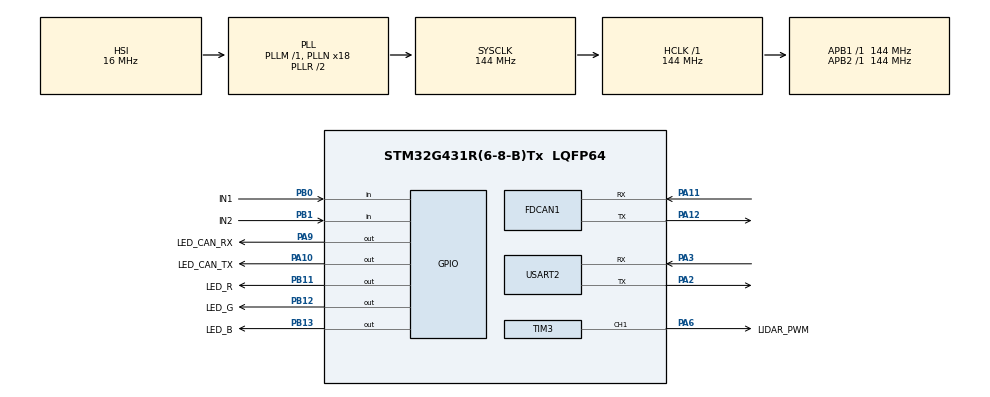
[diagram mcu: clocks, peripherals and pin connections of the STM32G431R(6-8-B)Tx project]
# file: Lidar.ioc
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Dma.Request0=USART2_RX
Dma.Request1=USART2_TX
Dma.USART2_RX.0.Direction=DMA_PERIPH_TO_MEMORY
Dma.USART2_RX.0.EventEnable=DISABLE
Dma.USART2_RX.0.Instance=DMA1_Channel1
Dma.USART2_RX.0.MemDataAlignment=DMA_MDATAALIGN_BYTE
Dma.USART2_RX.0.MemInc=DMA_MINC_ENABLE
Dma.USART2_RX.0.Mode=DMA_CIRCULAR
Dma.USART2_RX.0.PeriphDataAlignment=DMA_PDATAALIGN_BYTE
Dma.USART2_RX.0.PeriphInc=DMA_PINC_DISABLE
Dma.USART2_RX.0.Polarity=HAL_DMAMUX_REQ_GEN_RISING
Dma.USART2_RX.0.Priority=DMA_PRIORITY_LOW
Dma.USART2_RX.0.RequestNumber=1
Dma.USART2_RX.0.SignalID=NONE
Dma.USART2_RX.0.SyncEnable=DISABLE
Dma.USART2_RX.0.SyncPolarity=HAL_DMAMUX_SYNC_NO_EVENT
Dma.USART2_RX.0.SyncRequestNumber=1
Dma.USART2_RX.0.SyncSignalID=NONE
Dma.USART2_TX.1.Direction=DMA_MEMORY_TO_PERIPH
Dma.USART2_TX.1.EventEnable=DISABLE
Dma.USART2_TX.1.Instance=DMA1_Channel2
Dma.USART2_TX.1.MemDataAlignment=DMA_MDATAALIGN_BYTE
Dma.USART2_TX.1.MemInc=DMA_MINC_ENABLE
Dma.USART2_TX.1.Mode=DMA_NORMAL
Dma.USART2_TX.1.PeriphDataAlignment=DMA_PDATAALIGN_BYTE
Dma.USART2_TX.1.PeriphInc=DMA_PINC_DISABLE
Dma.USART2_TX.1.Polarity=HAL_DMAMUX_REQ_GEN_RISING
Dma.USART2_TX.1.Priority=DMA_PRIORITY_LOW
Dma.USART2_TX.1.RequestNumber=1
Dma.USART2_TX.1.SignalID=NONE
Dma.USART2_TX.1.SyncEnable=DISABLE
Dma.USART2_TX.1.SyncPolarity=HAL_DMAMUX_SYNC_NO_EVENT
Dma.USART2_TX.1.SyncRequestNumber=1
Dma.USART2_TX.1.SyncSignalID=NONE
FDCAN1.AutoRetransmission=ENABLE
FDCAN1.CalculateBaudRateNominal=1000000
FDCAN1.CalculateTimeBitNominal=1000
FDCAN1.CalculateTimeQuantumNominal=6.944444444444445
FDCAN1.DataPrescaler=1
FDCAN1.DataSyncJumpWidth=8
FDCAN1.DataTimeSeg1=9
FDCAN1.DataTimeSeg2=8
FDCAN1.FrameFormat=FDCAN_FRAME_FD_NO_BRS
FDCAN1.NominalPrescaler=1
FDCAN1.NominalSyncJumpWidth=19
FDCAN1.NominalTimeSeg1=124
FDCAN1.NominalTimeSeg2=19
FDCAN1.StdFiltersNbr=1
Mcu.Family=STM32G4
Mcu.Name=STM32G431R(6-8-B)Tx
Mcu.Package=LQFP64
NVIC.DMA1_Channel1_IRQn=true\:0\:0\:false\:false\:true\:false\:true\:true
NVIC.DMA1_Channel2_IRQn=true\:0\:0\:false\:false\:true\:false\:true\:true
NVIC.FDCAN1_IT0_IRQn=true\:0\:0\:false\:false\:true\:true\:true\:true
NVIC.PriorityGroup=NVIC_PRIORITYGROUP_4
NVIC.TIM6_DAC_IRQn=true\:0\:0\:false\:false\:true\:true\:true\:true
NVIC.TIM7_IRQn=true\:0\:0\:false\:false\:true\:true\:true\:true
NVIC.USART2_IRQn=true\:0\:0\:false\:false\:true\:true\:true\:true
PA10.GPIO_Label=LED_CAN_TX
PA10.Signal=GPIO_Output
PA11.Mode=FDCAN_Activate
PA11.Signal=FDCAN1_RX
PA12.Mode=FDCAN_Activate
PA12.Signal=FDCAN1_TX
PA13.Mode=Serial_Wire
PA13.Signal=SYS_JTMS-SWDIO
PA14.Mode=Serial_Wire
PA14.Signal=SYS_JTCK-SWCLK
PA2.Mode=Asynchronous
PA2.Signal=USART2_TX
PA3.Mode=Asynchronous
PA3.Signal=USART2_RX
PA6.GPIO_Label=LIDAR_PWM
PA6.Signal=S_TIM3_CH1
PA9.GPIO_Label=LED_CAN_RX
PA9.Signal=GPIO_Output
PB0.GPIO_Label=IN1
PB0.Signal=GPIO_Input
PB1.GPIO_Label=IN2
PB1.Signal=GPIO_Input
PB11.GPIO_Label=LED_R
PB11.Signal=GPIO_Output
PB12.GPIO_Label=LED_G
PB12.Signal=GPIO_Output
PB13.GPIO_Label=LED_B
PB13.Signal=GPIO_Output
ProjectManager.HeapSize=0x200
ProjectManager.StackSize=0x400
ProjectManager.TargetToolchain=STM32CubeIDE
RCC.ADC12Freq_Value=144000000
RCC.AHBFreq_Value=144000000
RCC.APB1Freq_Value=144000000
RCC.APB1TimFreq_Value=144000000
RCC.APB2Freq_Value=144000000
RCC.APB2TimFreq_Value=144000000
RCC.CortexFreq_Value=144000000
RCC.EXTERNAL_CLOCK_VALUE=12288000
RCC.HCLKFreq_Value=144000000
RCC.HSE_VALUE=8000000
RCC.HSI48_VALUE=48000000
RCC.HSI_VALUE=16000000
RCC.LSE_VALUE=32768
RCC.PLLN=18
RCC.SYSCLKFreq_VALUE=144000000
RCC.SYSCLKSource=RCC_SYSCLKSOURCE_PLLCLK
RCC.USBFreq_Value=144000000
RCC.VCOOutputFreq_Value=288000000
SH.S_TIM3_CH1.0=TIM3_CH1,PWM Generation1 CH1
TIM16.PeriodNoDither=45999
TIM16.Prescaler=287
TIM17.PeriodNoDither=47999
TIM17.Prescaler=2
TIM3.Channel-PWM\ Generation1\ CH1=TIM_CHANNEL_1
TIM3.PeriodNoDither=5759
TIM6.PeriodNoDither=35999
TIM6.Prescaler=1
TIM7.PeriodNoDither=1439
USART2.VirtualMode-Asynchronous=VM_ASYNC
VP_SYS_VS_DBSignals.Mode=DisableDeadBatterySignals
VP_TIM16_VS_ClockSourceINT.Mode=Enable_Timer
VP_TIM17_VS_ClockSourceINT.Mode=Enable_Timer
VP_TIM6_VS_ClockSourceINT.Mode=Enable_Timer
VP_TIM7_VS_ClockSourceINT.Mode=Enable_Timer
board=custom

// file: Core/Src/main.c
/* USER CODE BEGIN Header */
/**
  ******************************************************************************
  * @file           : main.c
  * @brief          : Main program body
  ******************************************************************************
  * @attention
  *
  * Copyright (c) 2024 STMicroelectronics.
  * All rights reserved.
  *
  * This software is licensed under terms that can be found in the LICENSE file
  * in the root directory of this software component.
  * If no LICENSE file comes with this software, it is provided AS-IS.
  *
  ******************************************************************************
  */
/* USER CODE END Header */
#include "main.h"

/* USER CODE BEGIN Includes */
#include "lidar.h"
#include "dma.h"
#include "vector.h"
#include "svd.h"
#include "fdcan.h"
/* USER CODE END Includes */

FDCAN_HandleTypeDef hfdcan1;

TIM_HandleTypeDef htim3;
TIM_HandleTypeDef htim6;
TIM_HandleTypeDef htim7;
TIM_HandleTypeDef htim16;
TIM_HandleTypeDef htim17;

UART_HandleTypeDef huart2;
DMA_HandleTypeDef hdma_usart2_rx;
DMA_HandleTypeDef hdma_usart2_tx;

/* USER CODE BEGIN PV */
uint8_t start_lidar;
/* USER CODE END PV */

void SystemClock_Config(void);
static void MX_GPIO_Init(void);
static void MX_DMA_Init(void);
static void MX_FDCAN1_Init(void);
static void MX_TIM3_Init(void);
static void MX_USART2_UART_Init(void);
static void MX_TIM6_Init(void);
static void MX_TIM7_Init(void);
static void MX_TIM16_Init(void);
static void MX_TIM17_Init(void);

int main(void)
{

  /* MCU Configuration--------------------------------------------------------*/

  /* Reset of all peripherals, Initializes the Flash interface and the Systick. */
  HAL_Init();

  /* Configure the system clock */
  SystemClock_Config();

  /* Initialize all configured peripherals */
  MX_GPIO_Init();
  MX_DMA_Init();
  MX_FDCAN1_Init();
  MX_TIM3_Init();
  MX_USART2_UART_Init();
  MX_TIM6_Init();
  MX_TIM7_Init();
  MX_TIM16_Init();
  MX_TIM17_Init();
  /* USER CODE BEGIN 2 */
//  HAL_NVIC_SetPriority(FDCAN1_IT0_IRQn, 0, 0);
//  HAL_NVIC_EnableIRQ(FDCAN1_IT0_IRQn);
  FDCAN_Init(&hfdcan1);

//  SVD_Init_Matrices();
//  PC_Init_Matrices();

  // LIDAR UART DMA communication start
  HAL_UART_DMAStop(&huart2);
  HAL_NVIC_SetPriority(USART2_IRQn, 0, 0);
  HAL_NVIC_EnableIRQ(USART2_IRQn);

//  HAL_NVIC_SetPriority(TIM7_IRQn, 2, 0);
//  HAL_NVIC_EnableIRQ(TIM7_IRQn);
//
//  HAL_NVIC_SetPriority(TIM6_DAC_IRQn, 3, 0);
//  HAL_NVIC_EnableIRQ(TIM6_DAC_IRQn);

  Start_DMA(&huart2, 132);
  /* USER CODE END 2 */

  /* Infinite loop */
  /* USER CODE BEGIN WHILE */
  uint8_t started = 0;

  while (1)
  {
	  if ( start_lidar && !started){
		  started = 1;
		  Lidar_Start(&htim3, &htim6, &htim7, &huart2);
	  } else if ( !start_lidar && started){
		  started = 0;
		  Lidar_Stop_All(&htim3, &htim6, &htim7, &huart2);
	  }

	  if (process_opponent == 1){
	  		Get_Opponent();
	  		process_opponent = 2;
	  }

	  if (process_beacon == 1){
		   Get_Beacons();
		   process_beacon = 0; //2;
	  }

	  if (send_status == HAL_OK)
	  {
		send_status = HAL_ERROR;
		HAL_GPIO_TogglePin(LED_CAN_TX_GPIO_Port, LED_CAN_TX_Pin);
	  }
	  else
	  {
		HAL_GPIO_WritePin(LED_CAN_TX_GPIO_Port, LED_CAN_TX_Pin, GPIO_PIN_RESET);
	  }

	  if (receive_status == HAL_OK)
	  {
		receive_status = HAL_ERROR;
		HAL_GPIO_TogglePin(LED_CAN_RX_GPIO_Port, LED_CAN_RX_Pin);
	  }
	  else
	  {
		HAL_GPIO_WritePin(LED_CAN_RX_GPIO_Port, LED_CAN_RX_Pin, GPIO_PIN_RESET);
	  }

	  HAL_Delay(50);

    /* USER CODE END WHILE */

  }
}

void SystemClock_Config(void)
{
  RCC_OscInitTypeDef RCC_OscInitStruct = {0};
  RCC_ClkInitTypeDef RCC_ClkInitStruct = {0};

  /** Configure the main internal regulator output voltage
  */
  HAL_PWREx_ControlVoltageScaling(PWR_REGULATOR_VOLTAGE_SCALE1);

  /** Initializes the RCC Oscillators according to the specified parameters
  * in the RCC_OscInitTypeDef structure.
  */
  RCC_OscInitStruct.OscillatorType = RCC_OSCILLATORTYPE_HSI;
  RCC_OscInitStruct.HSIState = RCC_HSI_ON;
  RCC_OscInitStruct.HSICalibrationValue = RCC_HSICALIBRATION_DEFAULT;
  RCC_OscInitStruct.PLL.PLLState = RCC_PLL_ON;
  RCC_OscInitStruct.PLL.PLLSource = RCC_PLLSOURCE_HSI;
  RCC_OscInitStruct.PLL.PLLM = RCC_PLLM_DIV1;
  RCC_OscInitStruct.PLL.PLLN = 18;
  RCC_OscInitStruct.PLL.PLLP = RCC_PLLP_DIV2;
  RCC_OscInitStruct.PLL.PLLQ = RCC_PLLQ_DIV2;
  RCC_OscInitStruct.PLL.PLLR = RCC_PLLR_DIV2;
  if (HAL_RCC_OscConfig(&RCC_OscInitStruct) != HAL_OK)
  {
    Error_Handler();
  }

  /** Initializes the CPU, AHB and APB buses clocks
  */
  RCC_ClkInitStruct.ClockType = RCC_CLOCKTYPE_HCLK|RCC_CLOCKTYPE_SYSCLK
                              |RCC_CLOCKTYPE_PCLK1|RCC_CLOCKTYPE_PCLK2;
  RCC_ClkInitStruct.SYSCLKSource = RCC_SYSCLKSOURCE_PLLCLK;
  RCC_ClkInitStruct.AHBCLKDivider = RCC_SYSCLK_DIV1;
  RCC_ClkInitStruct.APB1CLKDivider = RCC_HCLK_DIV1;
  RCC_ClkInitStruct.APB2CLKDivider = RCC_HCLK_DIV1;

  if (HAL_RCC_ClockConfig(&RCC_ClkInitStruct, FLASH_LATENCY_4) != HAL_OK)
  {
    Error_Handler();
  }
}

static void MX_FDCAN1_Init(void)
{

  hfdcan1.Instance = FDCAN1;
  hfdcan1.Init.ClockDivider = FDCAN_CLOCK_DIV1;
  hfdcan1.Init.FrameFormat = FDCAN_FRAME_FD_NO_BRS;
  hfdcan1.Init.Mode = FDCAN_MODE_NORMAL;
  hfdcan1.Init.AutoRetransmission = ENABLE;
  hfdcan1.Init.TransmitPause = DISABLE;
  hfdcan1.Init.ProtocolException = DISABLE;
  hfdcan1.Init.NominalPrescaler = 1;
  hfdcan1.Init.NominalSyncJumpWidth = 19;
  hfdcan1.Init.NominalTimeSeg1 = 124;
  hfdcan1.Init.NominalTimeSeg2 = 19;
  hfdcan1.Init.DataPrescaler = 1;
  hfdcan1.Init.DataSyncJumpWidth = 8;
  hfdcan1.Init.DataTimeSeg1 = 9;
  hfdcan1.Init.DataTimeSeg2 = 8;
  hfdcan1.Init.StdFiltersNbr = 1;
  hfdcan1.Init.ExtFiltersNbr = 0;
  hfdcan1.Init.TxFifoQueueMode = FDCAN_TX_FIFO_OPERATION;
  if (HAL_FDCAN_Init(&hfdcan1) != HAL_OK)
  {
    Error_Handler();
  }

}

static void MX_TIM3_Init(void)
{

  TIM_MasterConfigTypeDef sMasterConfig = {0};
  TIM_OC_InitTypeDef sConfigOC = {0};

  htim3.Instance = TIM3;
  htim3.Init.Prescaler = 0;
  htim3.Init.CounterMode = TIM_COUNTERMODE_UP;
  htim3.Init.Period = 5759;
  htim3.Init.ClockDivision = TIM_CLOCKDIVISION_DIV1;
  htim3.Init.AutoReloadPreload = TIM_AUTORELOAD_PRELOAD_DISABLE;
  if (HAL_TIM_PWM_Init(&htim3) != HAL_OK)
  {
    Error_Handler();
  }
  sMasterConfig.MasterOutputTrigger = TIM_TRGO_RESET;
  sMasterConfig.MasterSlaveMode = TIM_MASTERSLAVEMODE_DISABLE;
  if (HAL_TIMEx_MasterConfigSynchronization(&htim3, &sMasterConfig) != HAL_OK)
  {
    Error_Handler();
  }
  sConfigOC.OCMode = TIM_OCMODE_PWM1;
  sConfigOC.Pulse = 0;
  sConfigOC.OCPolarity = TIM_OCPOLARITY_HIGH;
  sConfigOC.OCFastMode = TIM_OCFAST_DISABLE;
  if (HAL_TIM_PWM_ConfigChannel(&htim3, &sConfigOC, TIM_CHANNEL_1) != HAL_OK)
  {
    Error_Handler();
  }
  HAL_TIM_MspPostInit(&htim3);

}

static void MX_TIM6_Init(void)
{

  TIM_MasterConfigTypeDef sMasterConfig = {0};

  htim6.Instance = TIM6;
  htim6.Init.Prescaler = 1;
  htim6.Init.CounterMode = TIM_COUNTERMODE_UP;
  htim6.Init.Period = 35999;
  htim6.Init.AutoReloadPreload = TIM_AUTORELOAD_PRELOAD_DISABLE;
  if (HAL_TIM_Base_Init(&htim6) != HAL_OK)
  {
    Error_Handler();
  }
  sMasterConfig.MasterOutputTrigger = TIM_TRGO_RESET;
  sMasterConfig.MasterSlaveMode = TIM_MASTERSLAVEMODE_DISABLE;
  if (HAL_TIMEx_MasterConfigSynchronization(&htim6, &sMasterConfig) != HAL_OK)
  {
    Error_Handler();
  }

}

static void MX_TIM7_Init(void)
{

  TIM_MasterConfigTypeDef sMasterConfig = {0};

  htim7.Instance = TIM7;
  htim7.Init.Prescaler = 0;
  htim7.Init.CounterMode = TIM_COUNTERMODE_UP;
  htim7.Init.Period = 1439;
  htim7.Init.AutoReloadPreload = TIM_AUTORELOAD_PRELOAD_DISABLE;
  if (HAL_TIM_Base_Init(&htim7) != HAL_OK)
  {
    Error_Handler();
  }
  sMasterConfig.MasterOutputTrigger = TIM_TRGO_RESET;
  sMasterConfig.MasterSlaveMode = TIM_MASTERSLAVEMODE_DISABLE;
  if (HAL_TIMEx_MasterConfigSynchronization(&htim7, &sMasterConfig) != HAL_OK)
  {
    Error_Handler();
  }

}

static void MX_TIM16_Init(void)
{

  htim16.Instance = TIM16;
  htim16.Init.Prescaler = 287;
  htim16.Init.CounterMode = TIM_COUNTERMODE_UP;
  htim16.Init.Period = 45999;
  htim16.Init.ClockDivision = TIM_CLOCKDIVISION_DIV1;
  htim16.Init.RepetitionCounter = 0;
  htim16.Init.AutoReloadPreload = TIM_AUTORELOAD_PRELOAD_DISABLE;
  if (HAL_TIM_Base_Init(&htim16) != HAL_OK)
  {
    Error_Handler();
  }

}

static void MX_TIM17_Init(void)
{

  htim17.Instance = TIM17;
  htim17.Init.Prescaler = 2;
  htim17.Init.CounterMode = TIM_COUNTERMODE_UP;
  htim17.Init.Period = 47999;
  htim17.Init.ClockDivision = TIM_CLOCKDIVISION_DIV1;
  htim17.Init.RepetitionCounter = 0;
  htim17.Init.AutoReloadPreload = TIM_AUTORELOAD_PRELOAD_DISABLE;
  if (HAL_TIM_Base_Init(&htim17) != HAL_OK)
  {
    Error_Handler();
  }

}

static void MX_USART2_UART_Init(void)
{

  huart2.Instance = USART2;
  huart2.Init.BaudRate = 115200;
  huart2.Init.WordLength = UART_WORDLENGTH_8B;
  huart2.Init.StopBits = UART_STOPBITS_1;
  huart2.Init.Parity = UART_PARITY_NONE;
  huart2.Init.Mode = UART_MODE_TX_RX;
  huart2.Init.HwFlowCtl = UART_HWCONTROL_NONE;
  huart2.Init.OverSampling = UART_OVERSAMPLING_16;
  huart2.Init.OneBitSampling = UART_ONE_BIT_SAMPLE_DISABLE;
  huart2.Init.ClockPrescaler = UART_PRESCALER_DIV1;
  huart2.AdvancedInit.AdvFeatureInit = UART_ADVFEATURE_NO_INIT;
  if (HAL_UART_Init(&huart2) != HAL_OK)
  {
    Error_Handler();
  }
  if (HAL_UARTEx_SetTxFifoThreshold(&huart2, UART_TXFIFO_THRESHOLD_1_8) != HAL_OK)
  {
    Error_Handler();
  }
  if (HAL_UARTEx_SetRxFifoThreshold(&huart2, UART_RXFIFO_THRESHOLD_1_8) != HAL_OK)
  {
    Error_Handler();
  }
  if (HAL_UARTEx_DisableFifoMode(&huart2) != HAL_OK)
  {
    Error_Handler();
  }

}

static void MX_DMA_Init(void)
{

  /* DMA controller clock enable */
  __HAL_RCC_DMAMUX1_CLK_ENABLE();
  __HAL_RCC_DMA1_CLK_ENABLE();

  /* DMA interrupt init */
  /* DMA1_Channel1_IRQn interrupt configuration */
  HAL_NVIC_SetPriority(DMA1_Channel1_IRQn, 0, 0);
  HAL_NVIC_EnableIRQ(DMA1_Channel1_IRQn);
  /* DMA1_Channel2_IRQn interrupt configuration */
  HAL_NVIC_SetPriority(DMA1_Channel2_IRQn, 0, 0);
  HAL_NVIC_EnableIRQ(DMA1_Channel2_IRQn);

}

static void MX_GPIO_Init(void)
{
  GPIO_InitTypeDef GPIO_InitStruct = {0};

  /* GPIO Ports Clock Enable */
  __HAL_RCC_GPIOA_CLK_ENABLE();
  __HAL_RCC_GPIOB_CLK_ENABLE();

  /*Configure GPIO pin Output Level */
  HAL_GPIO_WritePin(GPIOB, LED_R_Pin|LED_G_Pin|LED_B_Pin, GPIO_PIN_RESET);

  /*Configure GPIO pin Output Level */
  HAL_GPIO_WritePin(GPIOA, LED_CAN_RX_Pin|LED_CAN_TX_Pin, GPIO_PIN_RESET);

  /*Configure GPIO pins : IN1_Pin IN2_Pin */
  GPIO_InitStruct.Pin = IN1_Pin|IN2_Pin;
  GPIO_InitStruct.Mode = GPIO_MODE_INPUT;
  GPIO_InitStruct.Pull = GPIO_NOPULL;
  HAL_GPIO_Init(GPIOB, &GPIO_InitStruct);

  /*Configure GPIO pins : LED_R_Pin LED_G_Pin LED_B_Pin */
  GPIO_InitStruct.Pin = LED_R_Pin|LED_G_Pin|LED_B_Pin;
  GPIO_InitStruct.Mode = GPIO_MODE_OUTPUT_PP;
  GPIO_InitStruct.Pull = GPIO_NOPULL;
  GPIO_InitStruct.Speed = GPIO_SPEED_FREQ_LOW;
  HAL_GPIO_Init(GPIOB, &GPIO_InitStruct);

  /*Configure GPIO pins : LED_CAN_RX_Pin LED_CAN_TX_Pin */
  GPIO_InitStruct.Pin = LED_CAN_RX_Pin|LED_CAN_TX_Pin;
  GPIO_InitStruct.Mode = GPIO_MODE_OUTPUT_PP;
  GPIO_InitStruct.Pull = GPIO_NOPULL;
  GPIO_InitStruct.Speed = GPIO_SPEED_FREQ_LOW;
  HAL_GPIO_Init(GPIOA, &GPIO_InitStruct);

}

/* USER CODE BEGIN 4 */

//void HAL_FDCAN_RxFifo0Callback(FDCAN_HandleTypeDef *hfdcan, uint32_t RxFifo0ITs)
//{
//	// CHAL_GPIO_WritePin(LED_R_GPIO_Port, LED_R_Pin, GPIO_PIN_SET);
//  if((RxFifo0ITs & FDCAN_IT_RX_FIFO0_NEW_MESSAGE) != RESET)
//  {
//
//    /* Retreive Rx messages from RX FIFO0 */
//    if (HAL_FDCAN_GetRxMessage(hfdcan, FDCAN_RX_FIFO0, &RxHeader, RxData) != HAL_OK)
//    {
//		/* Reception Error */
//		Error_Handler();
//    }
//
//    if (HAL_FDCAN_ActivateNotification(hfdcan, FDCAN_IT_RX_FIFO0_NEW_MESSAGE, 0) != HAL_OK)
//    {
//      /* Notification Error */
//      Error_Handler();
//    }
//
//    if(RxData[0] == 0xFF){
//    	HAL_GPIO_WritePin(GPIOB, LED_G_Pin, GPIO_PIN_SET);
//    }
//
//  }
//}

/* USER CODE END 4 */

void Error_Handler(void)
{
  __disable_irq();
  while (1)
  {
  }
}
